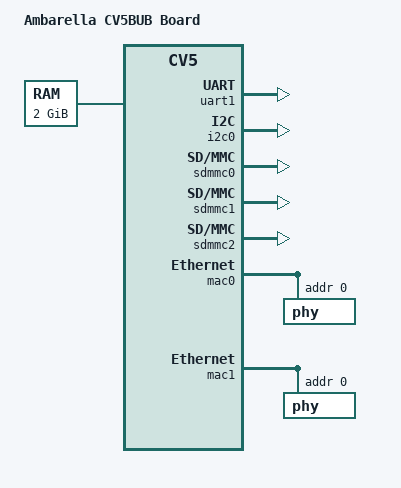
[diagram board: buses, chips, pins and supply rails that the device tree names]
/*
 * board level device tree source
 */

/dts-v1/;

/include/ "ambarella-cv5.dtsi"

/ {
	model = "Ambarella CV5BUB Board";
	compatible = "ambarella,cv5bub", "ambarella,cv5";

	chosen {
		bootargs = "ubi.mtd=5 root=ubi0:linux rootfstype=ubifs console=ttyS0 nosmp maxcpus=0";
	};

	memory {
		device_type = "memory";
		reg = <0x0 0x200000 0x0 0x7fe00000>;
	};

	reserved-memory {
		#address-cells = <0x2>;
		#size-cells = <0x2>;
		ranges;

		flexidag_sys {
				compatible = "shared-dma-pool";
				reusable;
				reg = <0x0 0x20000000 0x0 0x60000000>;
				phandle = <0x62>;
		};
		flexidag_rtos {
				phandle = <0x63>;
		};


	};

	sub_scheduler0 {
			cv_att_size = <0x60000000>;
			cv_att_pa = <0x20000000>;
			cv_att_ca = <0x20000000>;
			cv_schdr_size = <0x8000000>;
			compatible = "ambarella,sub-scheduler";
			interrupts = <0x0 0xa9 0x4>;
			memory-region = <0x62>;
			memory-region1 = <0x63>;
	};

	cpus {
		cpu@0 {
			cpu-release-addr = <0x0 0x170>;
			enable-method = "spin-table";
		};

		cpu@1 {
			cpu-release-addr = <0x0 0x178>;
			enable-method = "spin-table";
			/* cpu_release_addr+0x8 at output.64/out/amba_bld.map */
			cpu-release-addr = <0x0 0x100001d8>;
		};
	};

	ddr-controller@1000004000 {
		burst-size = <0x40>;
	};

	apb@20e4000000 {

	};

	ahb@20e0000000 {
		nand@e0002000 {
			amb,timing = <0x303320c 0x5050505 0x71464 0x0 0x0 0x0>;
		};
	};

	/delete-node/ psci;
};

&uart1 {
	status = "ok";
};

&i2c0 {
	status = "ok";
};

&i2c1 {
	pinctrl-0 = <&i2c1_pins_a>;
};

&i2c2 {
	pinctrl-0 = <&i2c2_pins_a>;
};

&spi4 {
	pinctrl-0 = <&spi4_pins_b>;
};

&spi5 {
	pinctrl-0 = <&spi5_pins_b>;
};

&sdmmc0 {
	/*pwr-gpios = <&gpio 91 0x1>;*/
	/*v18-gpios = <&gpio 129 0x1>;*/
	/*amb,fixed-cd = <1>;*/
	status = "ok";
};

&sdmmc1 {
	/*pwr-gpios = <&gpio 100 0x1>;*/
	/*v18-gpios = <&gpio 130 0x1>;*/
	status = "ok";
};

&sdmmc2 {
	pwr-gpios = <&gpio 109 0x1>;
	v18-gpios = <&gpio 132 0x1>;
	status = "ok";
};

&mac0 {
	amb,tx-clk-invert;

	phy@0 {
		reg = <0>;
	};
};

&mac1 {
	amb,tx-clk-invert;

	phy@0 {
		reg = <0>;
	};
};

&usbphy {
	/* high will trigger the ocp interrupt */
	amb,ocp-polarity = <0>;
	pinctrl-names = "default";
	pinctrl-0 = <&usb_host0_pins_a>;
};
